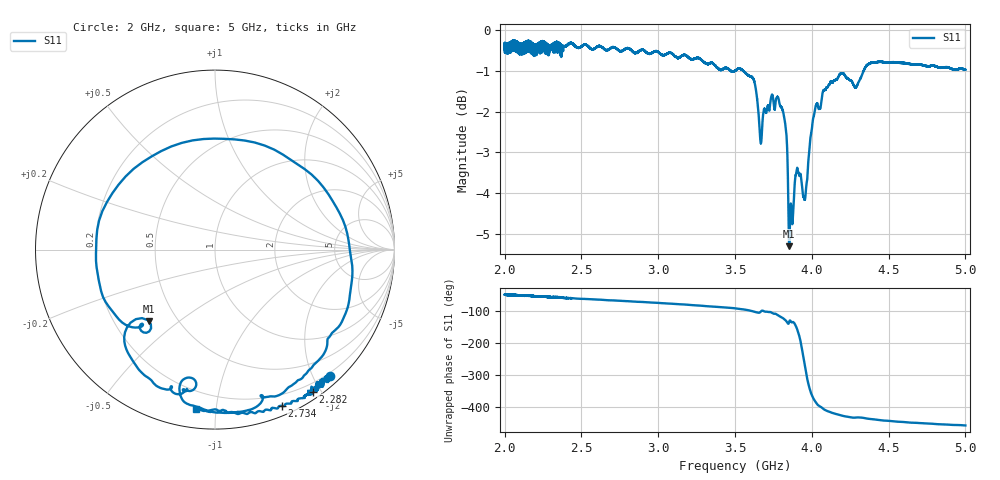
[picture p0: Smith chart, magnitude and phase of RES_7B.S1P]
!Agilent Technologies,E5071C,MY46214220,A.11.31
!Date: Fri Sep 22 10:41:39 2017
!Data & Calibration Information:
!Freq	S11:SOLT1(ON)
!PortZ  Port1:50+j0
!Above PortZ is port z conversion or system Z0 setting when saving the data.
!When reading, reference impedance value at option line is always used.
# Hz S dB R 50
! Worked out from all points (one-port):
!   20000 points, 2 GHz to 5 GHz, reference 50 ohm
!   lowest |S11| = -5.3 dB at 3.853 GHz (marker M1), VSWR 3.37, Z = 17.4 - j19.5 ohm
!   |S11| at or under -10 dB: nowhere
!   S11 on the Smith chart (normalised r, x): 2 GHz: 0.16, -2.25; 2.282 GHz: 0.09, -1.90; 2.734 GHz: 0.09, -1.51; 5 GHz: 0.10, -0.88
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2e9  -0.45 -47.7
2.282314e9  -0.36 -55.5
2.375019e9  -0.39 -58.1
2.734437e9  -0.46 -66.8
2.750038e9  -0.51 -67.4
3.125056e9  -0.68 -77.7
3.500075e9  -0.99 -90.7
3.614381e9  -1.17 -99.8
3.664633e9  -2.69 -102.8
3.720586e9  -1.93 -102.9
3.776389e9  -1.64 -111.5
3.830992e9  -2.41 -129.1
3.853043e9  -5.31 -132.9
3.875094e9  -4.72 -133.7
3.899695e9  -3.50 -150.1
3.923096e9  -3.56 174.3
3.932547e9  -3.71 151.2
3.942297e9  -4.04 124.2
3.956548e9  -4.15 83.6
3.967198e9  -3.74 55.6
3.980399e9  -3.09 27.7
4.0059e9  -2.23 -8.1
4.036352e9  -1.79 -31.2
4.087204e9  -1.46 -48.9
4.185459e9  -1.07 -64.9
4.250113e9  -1.23 -71.2
4.625131e9  -0.82 -87.4
5e9  -0.97 -97.0
